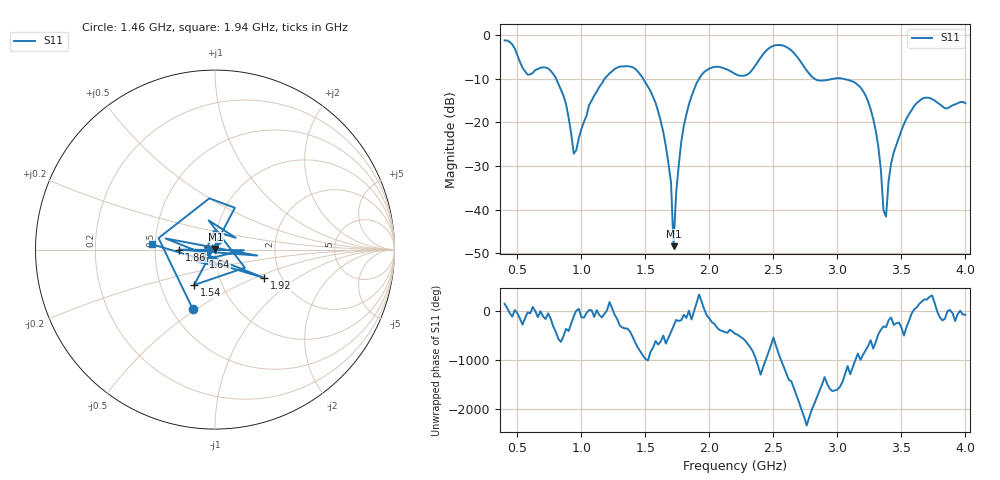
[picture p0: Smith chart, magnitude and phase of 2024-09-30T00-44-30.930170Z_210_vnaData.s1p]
!Created with skrf (http://scikit-rf.org).
# Hz S RI R 50.0
!freq ReS11 ImS11
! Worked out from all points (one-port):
!   181 points, 400 MHz to 4 GHz, reference 50 ohm
!   lowest |S11| = -48.4 dB at 1.72 GHz (marker M1), VSWR 1.01, Z = 50.2 + j0.292 ohm
!   |S11| at or under -10 dB: 802.8 MHz to 1.181 GHz (378.5 MHz wide, 38.1 % of centre); 1.483 GHz to 1.92 GHz (436.9 MHz wide, 25.7 % of centre); 3.043 GHz to end of sweep (the widest 3 of 4)
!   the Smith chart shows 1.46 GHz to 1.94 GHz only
!   S11 on the Smith chart (normalised r, x): 1.46 GHz: 0.64, -0.48; 1.54 GHz: 0.74, -0.31; 1.64 GHz: 0.88, -0.07; 1.86 GHz: 0.67, -0.00; 1.92 GHz: 1.63, -0.57; 1.94 GHz: 0.48, +0.03
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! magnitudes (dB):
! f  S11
! 400 MHz  -1.2
! 860 MHz  -13.9
! 940 MHz  -27.1
! 1.06 GHz  -16.0
! 1.3 GHz  -7.2
! 1.46 GHz  -9.0
! 1.54 GHz  -12.8
! 1.64 GHz  -22.3
! 1.7 GHz  -33.7
! 1.72 GHz  -48.4
! 1.74 GHz  -36.2
! 1.76 GHz  -30.0
! 1.86 GHz  -14.1
! 1.92 GHz  -10.0
! 1.94 GHz  -9.1
! 2.2 GHz  -8.9
! 2.5 GHz  -2.4
! 2.66 GHz  -4.1
! 2.84 GHz  -10.3
! 3.1 GHz  -10.4
! 3.28 GHz  -19.2
! 3.32 GHz  -25.6
! 3.36 GHz  -40.2
! 3.38 GHz  -41.6
! 3.42 GHz  -29.4
! 3.56 GHz  -18.1
! 3.68 GHz  -14.4
! 4 GHz  -15.6
